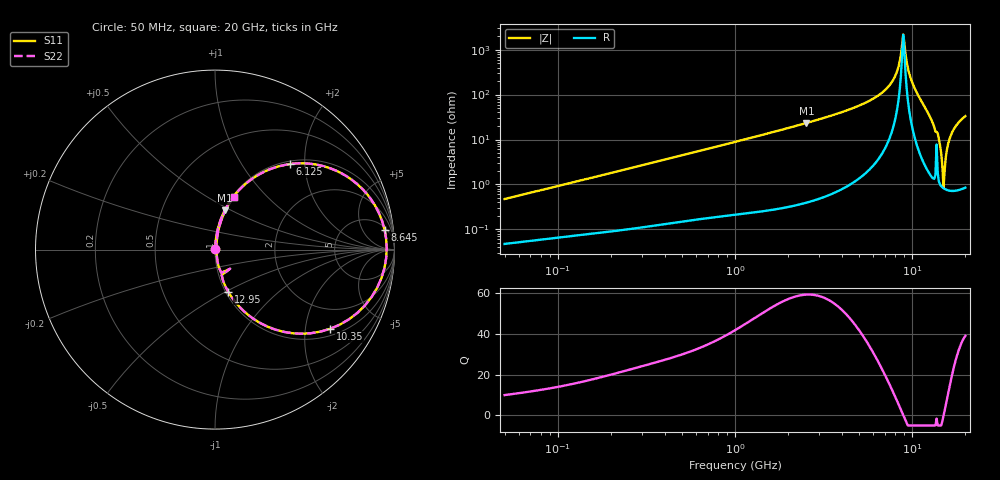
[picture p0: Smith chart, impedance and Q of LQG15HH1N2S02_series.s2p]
!Murata Part Number: LQG15HH1N2S02
!These Parameters are Measured in Series Mode Connection
!  o--[Z]--o
!Port1  Port2
!  o-------o
!Freq. Start=50[MHz] Stop=20[GHz], 401[Steps]
# Hz S RI R 50
!Freq.(Hz) S11(Real) S11(Imag) S21(Real) S21(Imag) S12(Real) S12(Imag) S22(Real) S22(Imag)
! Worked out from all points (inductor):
!   401 points, 50 MHz to 20 GHz, reference 50 ohm
!   read as one part in series: L = 1.49 nH near 51.52 MHz
!   highest Q = 59.4 at 2.531 GHz (marker M1), where L = 1.47 nH
!   self-resonance near 8.907 GHz
!   S11 on the Smith chart (normalised r, x): 50 MHz: 1.00, +0.01; 6.125 GHz: 1.06, +1.68; 8.645 GHz: 6, +14; 10.35 GHz: 1.22, -2.74; 12.95 GHz: 1.03, -0.51; 20 GHz: 1.02, +0.66
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5e7  0.000496 0.00471  0.9995 -0.00471  0.9995 -0.00471  0.000496 0.00471
1.364002e8  0.000908 0.0124  0.9991 -0.0124  0.9991 -0.0124  0.000908 0.0124
3.721004e8  0.00235 0.033  0.9977 -0.033  0.9977 -0.033  0.00235 0.033
1e9  0.0098 0.0873  0.9902 -0.0873  0.9902 -0.0873  0.0098 0.0873
2.531158e9  0.0548 0.2194  0.9452 -0.2194  0.9452 -0.2194  0.0548 0.2194
2.728004e9  0.0639 0.2363  0.9361 -0.2363  0.9361 -0.2363  0.0639 0.2363
4.472136e9  0.1885 0.3807  0.8115 -0.3807  0.8115 -0.3807  0.1885 0.3807
6.125241e9  0.4166 0.4765  0.5834 -0.4765  0.5834 -0.4765  0.4166 0.4765
7.442007e9  0.7075 0.4236  0.2925 -0.4236  0.2925 -0.4236  0.7075 0.4236
8.141811e9  0.8697 0.2796  0.1303 -0.2796  0.1303 -0.2796  0.8697 0.2796
8.644534e9  0.9448 0.1111  0.0552 -0.1111  0.0552 -0.1111  0.9448 0.1111
9.041845e9  0.9536 -0.0479  0.0464 0.0479  0.0464 0.0479  0.9536 -0.0479
9.600142e9  0.8726 -0.2639  0.1274 0.2639  0.1274 0.2639  0.8726 -0.2639
1.034674e10  0.6423 -0.441  0.3577 0.441  0.3577 0.441  0.6423 -0.441
1.295331e10  0.0735 -0.2344  0.9265 0.2344  0.9265 0.2344  0.0735 -0.2344
1.417136e10  0.0212 -0.098  0.9788 0.098  0.9788 0.098  0.0212 -0.098
1.460232e10  0.0113 -0.0473  0.9887 0.0473  0.9887 0.0473  0.0113 -0.0473
1.504638e10  0.00817 -0.00239  0.9918 0.00239  0.9918 0.00239  0.00817 -0.00239
1.550395e10  0.00918 0.0391  0.9908 -0.0391  0.9908 -0.0391  0.00918 0.0391
1.597544e10  0.0134 0.0777  0.9866 -0.0777  0.9866 -0.0777  0.0134 0.0777
1.670968e10  0.0246 0.1307  0.9754 -0.1307  0.9754 -0.1307  0.0246 0.1307
2e10  0.1055 0.2947  0.8945 -0.2947  0.8945 -0.2947  0.1055 0.2947
